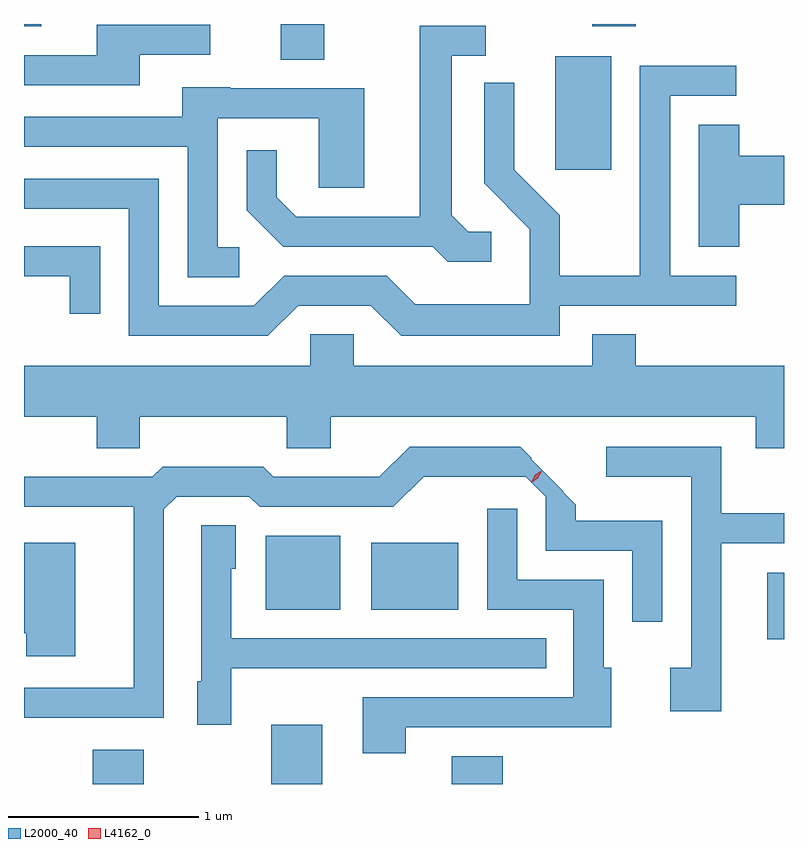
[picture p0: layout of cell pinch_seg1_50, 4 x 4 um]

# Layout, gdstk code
import gdstk
lib = gdstk.Library(unit=1e-6, precision=1e-09)
def R(c, l, rs):  # rectangles x0, y0, x1, y1
    for r in rs: c.add(gdstk.rectangle(r[:2], r[2:], *l))
def P(c, l, *ps):  # polygons
    for p in ps: c.add(gdstk.Polygon(p, *l))
L2000_40 = (2000, 40)
L4162_0 = (4162, 0)

pinch_seg1_50 = lib.new_cell('pinch_seg1_50')
R(pinch_seg1_50, L2000_40, [(1279.541,970.903,1279.809,971.084), (1280.481,970.903,1280.749,971.214), (1281.431,970.903,1281.699,971.049), (1283.091,971.666,1283.179,972.014), (1280.451,971.821,1280.844,972.209), (1281.006,971.821,1281.464,972.174), (1281.976,974.136,1282.269,974.734), (1280.531,974.716,1280.759,974.903), (1279.179,974.891,1279.269,974.903), (1282.171,974.891,1282.399,974.903)])
P(pinch_seg1_50, L2000_40, [(1279.789,974.741),(1280.158,974.741),(1280.158,974.899),(1279.561,974.899),(1279.561,974.739),(1279.179,974.739),(1279.179,974.581),(1279.789,974.581)],
  [(1281.638,973.809),(1281.517,973.809),(1281.429,973.897),(1281.429,974.736),(1281.608,974.736),(1281.608,974.894),(1281.261,974.894),(1281.261,973.889),(1280.612,973.889),(1280.509,973.992),(1280.509,974.238),(1280.351,974.238),(1280.351,973.924),(1280.544,973.731),(1281.329,973.731),(1281.409,973.651),(1281.638,973.651)],
  [(1280.622,973.421),(1281.004,973.421),(1281.164,973.261),(1281.999,973.261),(1281.999,973.421),(1282.928,973.421),(1282.928,973.579),(1282.579,973.579),(1282.579,974.526),(1282.928,974.526),(1282.928,974.684),(1282.421,974.684),(1282.421,973.579),(1281.999,973.579),(1281.999,973.897),(1281.759,974.137),(1281.759,974.593),(1281.601,974.593),(1281.601,974.064),(1281.841,973.824),(1281.841,973.429),(1281.237,973.429),(1281.087,973.579),(1280.549,973.579),(1280.389,973.419),(1279.889,973.419),(1279.889,974.089),(1279.179,974.089),(1279.179,973.931),(1279.731,973.931),(1279.731,973.261),(1280.462,973.261)],
  [(1280.313,973.729),(1280.199,973.729),(1280.199,974.406),(1280.731,974.406),(1280.731,974.041),(1280.969,974.041),(1280.969,974.564),(1280.265,974.564),(1280.265,974.569),(1280.011,974.569),(1280.011,974.414),(1279.179,974.414),(1279.179,974.256),(1280.041,974.256),(1280.041,973.571),(1280.313,973.571)],
  [(1282.944,973.951),(1283.179,973.951),(1283.179,974.209),(1282.944,974.209),(1282.944,974.374),(1282.731,974.374),(1282.731,973.731),(1282.944,973.731)],
  [(1279.579,973.734),(1279.179,973.734),(1279.179,973.576),(1279.421,973.576),(1279.421,973.378),(1279.579,973.378)],
  [(1279.789,972.836),(1280.561,972.836),(1280.561,972.671),(1280.794,972.671),(1280.794,972.836),(1283.031,972.836),(1283.031,972.671),(1283.179,972.671),(1283.179,973.104),(1282.399,973.104),(1282.399,973.269),(1282.171,973.269),(1282.171,973.104),(1280.914,973.104),(1280.914,973.269),(1280.686,973.269),(1280.686,973.104),(1279.179,973.104),(1279.179,972.836),(1279.561,972.836),(1279.561,972.671),(1279.789,972.671)],
  [(1282.849,972.171),(1283.179,972.171),(1283.179,972.329),(1282.849,972.329),(1282.849,972.679),(1282.243,972.679),(1282.243,972.521),(1282.691,972.521),(1282.691,971.514),(1282.581,971.514),(1282.581,971.286),(1282.849,971.286)],
  [(1279.914,972.349),(1279.982,972.416),(1280.364,972.416),(1280.419,972.361),(1281.122,972.361),(1281.282,972.521),(1281.715,972.521),(1281.715,972.519),(1281.821,972.519),(1281.924,972.416),(1281.924,972.131),(1282.381,972.131),(1282.381,971.758),(1282.539,971.758),(1282.539,972.289),(1282.084,972.289),(1282.084,972.372),(1282.015,972.441),(1282.017,972.443),(1281.848,972.612),(1281.852,972.617),(1281.79,972.679),(1281.209,972.679),(1281.049,972.519),(1280.492,972.519),(1280.437,972.574),(1279.909,972.574),(1279.854,972.519),(1279.179,972.519),(1279.179,972.361),(1279.756,972.361),(1279.756,971.409),(1279.179,971.409),(1279.179,971.251),(1279.914,971.251)],
  [(1281.189,971.201),(1282.269,971.201),(1282.269,971.514),(1282.229,971.514),(1282.229,971.979),(1281.774,971.979),(1281.774,972.353),(1281.616,972.353),(1281.616,971.821),(1282.071,971.821),(1282.071,971.359),(1280.961,971.359),(1280.961,971.066),(1281.189,971.066)],
  [(1280.269,971.511),(1281.928,971.511),(1281.928,971.669),(1280.269,971.669),(1280.269,972.036),(1280.294,972.036),(1280.294,972.264),(1280.111,972.264),(1280.111,971.444),(1280.091,971.444),(1280.091,971.216),(1280.269,971.216)],
  [(1279.449,972.174),(1279.179,972.174),(1279.179,971.696),(1279.191,971.696),(1279.191,971.576),(1279.449,971.576)])
P(pinch_seg1_50, L4162_0, [(1281.848,972.489),(1281.848,972.49),(1281.869,972.527),(1281.904,972.55),(1281.904,972.55),(1281.904,972.55),(1281.884,972.513),(1281.849,972.489)],
  [(1281.852,972.495),(1281.852,972.496),(1281.866,972.528),(1281.896,972.549),(1281.896,972.549),(1281.896,972.548),(1281.882,972.515),(1281.852,972.495)])

lib.write_gds('pinch_seg1_50.gds')
